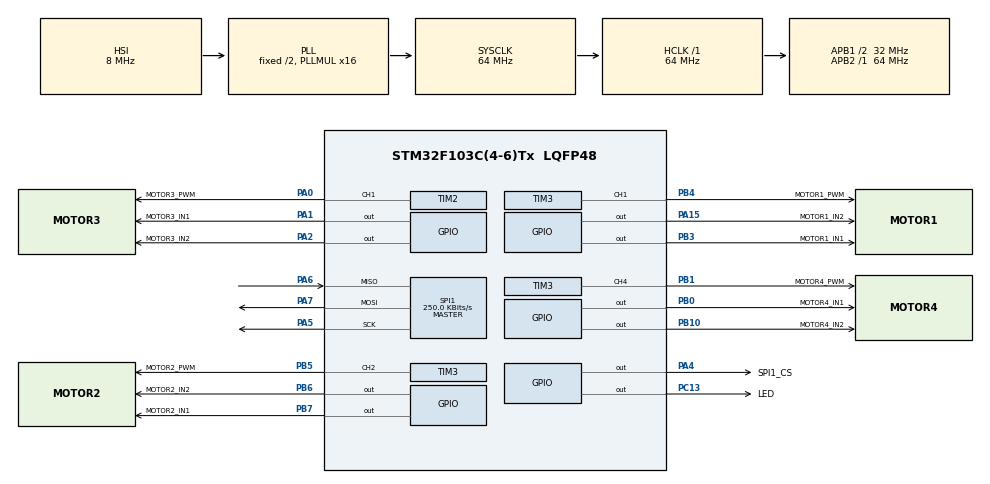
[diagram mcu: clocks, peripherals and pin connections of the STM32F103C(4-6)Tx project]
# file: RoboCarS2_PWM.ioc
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Mcu.Family=STM32F1
Mcu.Name=STM32F103C(4-6)Tx
Mcu.Package=LQFP48
NVIC.PriorityGroup=NVIC_PRIORITYGROUP_4
NVIC.TIM1_UP_IRQn=true\:0\:0\:false\:false\:true\:true\:true\:true
PA0-WKUP.GPIO_Label=MOTOR3_PWM
PA0-WKUP.Signal=S_TIM2_CH1_ETR
PA1.GPIO_Label=MOTOR3_IN1
PA1.Signal=GPIO_Output
PA13.Mode=Serial_Wire
PA13.Signal=SYS_JTMS-SWDIO
PA14.Mode=Serial_Wire
PA14.Signal=SYS_JTCK-SWCLK
PA15.GPIO_Label=MOTOR1_IN2
PA15.Signal=GPIO_Output
PA2.GPIO_Label=MOTOR3_IN2
PA2.Signal=GPIO_Output
PA4.GPIO_Label=SPI1_CS
PA4.GPIO_Speed=GPIO_SPEED_FREQ_HIGH
PA4.Signal=GPIO_Output
PA5.Mode=Full_Duplex_Master
PA5.Signal=SPI1_SCK
PA6.Mode=Full_Duplex_Master
PA6.Signal=SPI1_MISO
PA7.Mode=Full_Duplex_Master
PA7.Signal=SPI1_MOSI
PB0.GPIO_Label=MOTOR4_IN1
PB0.Signal=GPIO_Output
PB1.GPIO_Label=MOTOR4_PWM
PB1.Signal=S_TIM3_CH4
PB10.GPIO_Label=MOTOR4_IN2
PB10.Signal=GPIO_Output
PB3.GPIO_Label=MOTOR1_IN1
PB3.Signal=GPIO_Output
PB4.GPIO_Label=MOTOR1_PWM
PB4.Signal=S_TIM3_CH1
PB5.GPIO_Label=MOTOR2_PWM
PB5.Signal=S_TIM3_CH2
PB6.GPIO_Label=MOTOR2_IN2
PB6.Signal=GPIO_Output
PB7.GPIO_Label=MOTOR2_IN1
PB7.Signal=GPIO_Output
PC13-TAMPER-RTC.GPIO_Label=LED
PC13-TAMPER-RTC.Signal=GPIO_Output
ProjectManager.HeapSize=0x200
ProjectManager.StackSize=0x400
ProjectManager.TargetToolchain=MDK-ARM V5.32
RCC.AHBFreq_Value=64000000
RCC.APB1CLKDivider=RCC_HCLK_DIV2
RCC.APB1Freq_Value=32000000
RCC.APB1TimFreq_Value=64000000
RCC.APB2Freq_Value=64000000
RCC.APB2TimFreq_Value=64000000
RCC.HCLKFreq_Value=64000000
RCC.PLLMUL=RCC_PLL_MUL16
RCC.SYSCLKFreq_VALUE=64000000
RCC.SYSCLKSource=RCC_SYSCLKSOURCE_PLLCLK
RCC.USBFreq_Value=64000000
SH.S_TIM2_CH1_ETR.0=TIM2_CH1,PWM Generation1 CH1
SH.S_TIM3_CH1.0=TIM3_CH1,PWM Generation1 CH1
SH.S_TIM3_CH2.0=TIM3_CH2,PWM Generation2 CH2
SH.S_TIM3_CH4.0=TIM3_CH4,PWM Generation4 CH4
SPI1.BaudRatePrescaler=SPI_BAUDRATEPRESCALER_256
SPI1.CLKPolarity=SPI_POLARITY_HIGH
SPI1.CalculateBaudRate=250.0 KBits/s
SPI1.Direction=SPI_DIRECTION_2LINES
SPI1.FirstBit=SPI_FIRSTBIT_LSB
SPI1.Mode=SPI_MODE_MASTER
SPI1.VirtualType=VM_MASTER
TIM1.Period=999
TIM1.Prescaler=6399
TIM2.Channel-PWM\ Generation1\ CH1=TIM_CHANNEL_1
TIM2.Period=19999
TIM2.Prescaler=63
TIM3.Channel-PWM\ Generation1\ CH1=TIM_CHANNEL_1
TIM3.Channel-PWM\ Generation2\ CH2=TIM_CHANNEL_2
TIM3.Channel-PWM\ Generation4\ CH4=TIM_CHANNEL_4
TIM3.Period=19999
TIM3.Prescaler=63
VP_TIM1_VS_ClockSourceINT.Mode=Internal
VP_TIM2_VS_ClockSourceINT.Mode=Internal
VP_TIM3_VS_ClockSourceINT.Mode=Internal
board=custom

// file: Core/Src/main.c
/* USER CODE BEGIN Header */
/**
  ******************************************************************************
  * @file           : main.c
  * @brief          : Main program body
  ******************************************************************************
  * @attention
  *
  * Copyright (c) 2022 STMicroelectronics.
  * All rights reserved.
  *
  * This software is licensed under terms that can be found in the LICENSE file
  * in the root directory of this software component.
  * If no LICENSE file comes with this software, it is provided AS-IS.
  *
  ******************************************************************************
  */
/* USER CODE END Header */
#include "main.h"
#include "spi.h"
#include "tim.h"
#include "gpio.h"

/* USER CODE BEGIN Includes */

#include "pstwo.h"

/* USER CODE END Includes */

void SystemClock_Config(void);

int main(void)
{

  /* MCU Configuration--------------------------------------------------------*/

  /* Reset of all peripherals, Initializes the Flash interface and the Systick. */
  HAL_Init();

  /* Configure the system clock */
  SystemClock_Config();

  /* Initialize all configured peripherals */
  MX_GPIO_Init();
  MX_SPI1_Init();
  MX_TIM1_Init();
  MX_TIM2_Init();
  MX_TIM3_Init();
  /* USER CODE BEGIN 2 */

//如果不使能定时器中断则
//HAL_TIM_Base_Start(&htim1);
//如果使能定时器中断则
	HAL_TIM_Base_Start_IT(&htim1);

	HAL_TIM_Base_Start(&htim2);
	HAL_TIM_PWM_Start(&htim2,TIM_CHANNEL_1);  //motor3

	HAL_TIM_Base_Start(&htim3);
	HAL_TIM_PWM_Start(&htim3,TIM_CHANNEL_1);    //motor1
	HAL_TIM_PWM_Start(&htim3,TIM_CHANNEL_2);   //motor2
	HAL_TIM_PWM_Start(&htim3,TIM_CHANNEL_4); 	//motor4

	HAL_GPIO_WritePin(LED_GPIO_Port, LED_Pin, GPIO_PIN_SET);
	HAL_Delay(300);
	HAL_GPIO_WritePin(LED_GPIO_Port, LED_Pin, GPIO_PIN_RESET);
	HAL_Delay(300);
	HAL_GPIO_WritePin(LED_GPIO_Port, LED_Pin, GPIO_PIN_SET);
	HAL_Delay(300);
	HAL_GPIO_WritePin(LED_GPIO_Port, LED_Pin, GPIO_PIN_RESET);
	HAL_Delay(300);
	HAL_GPIO_WritePin(LED_GPIO_Port, LED_Pin, GPIO_PIN_SET);
	HAL_Delay(300);
	HAL_GPIO_WritePin(LED_GPIO_Port, LED_Pin, GPIO_PIN_RESET);

  /* USER CODE END 2 */

  /* Infinite loop */
  /* USER CODE BEGIN WHILE */
  while (1)
  {

		PS2Data_Acquire();
		HAL_Delay(3);

		__HAL_TIM_SetCompare(&htim3,TIM_CHANNEL_1,15000);
		HAL_GPIO_WritePin(MOTOR4_IN1_GPIO_Port, MOTOR4_IN1_Pin, GPIO_PIN_SET);
		HAL_GPIO_WritePin(MOTOR4_IN2_GPIO_Port, MOTOR4_IN2_Pin, GPIO_PIN_RESET);

    /* USER CODE END WHILE */

  }
}

void SystemClock_Config(void)
{
  RCC_OscInitTypeDef RCC_OscInitStruct = {0};
  RCC_ClkInitTypeDef RCC_ClkInitStruct = {0};

  /** Initializes the RCC Oscillators according to the specified parameters
  * in the RCC_OscInitTypeDef structure.
  */
  RCC_OscInitStruct.OscillatorType = RCC_OSCILLATORTYPE_HSI;
  RCC_OscInitStruct.HSIState = RCC_HSI_ON;
  RCC_OscInitStruct.HSICalibrationValue = RCC_HSICALIBRATION_DEFAULT;
  RCC_OscInitStruct.PLL.PLLState = RCC_PLL_ON;
  RCC_OscInitStruct.PLL.PLLSource = RCC_PLLSOURCE_HSI_DIV2;
  RCC_OscInitStruct.PLL.PLLMUL = RCC_PLL_MUL16;
  if (HAL_RCC_OscConfig(&RCC_OscInitStruct) != HAL_OK)
  {
    Error_Handler();
  }

  /** Initializes the CPU, AHB and APB buses clocks
  */
  RCC_ClkInitStruct.ClockType = RCC_CLOCKTYPE_HCLK|RCC_CLOCKTYPE_SYSCLK
                              |RCC_CLOCKTYPE_PCLK1|RCC_CLOCKTYPE_PCLK2;
  RCC_ClkInitStruct.SYSCLKSource = RCC_SYSCLKSOURCE_PLLCLK;
  RCC_ClkInitStruct.AHBCLKDivider = RCC_SYSCLK_DIV1;
  RCC_ClkInitStruct.APB1CLKDivider = RCC_HCLK_DIV2;
  RCC_ClkInitStruct.APB2CLKDivider = RCC_HCLK_DIV1;

  if (HAL_RCC_ClockConfig(&RCC_ClkInitStruct, FLASH_LATENCY_2) != HAL_OK)
  {
    Error_Handler();
  }
}

void Error_Handler(void)
{
  __disable_irq();
  while (1)
  {
  }
}
